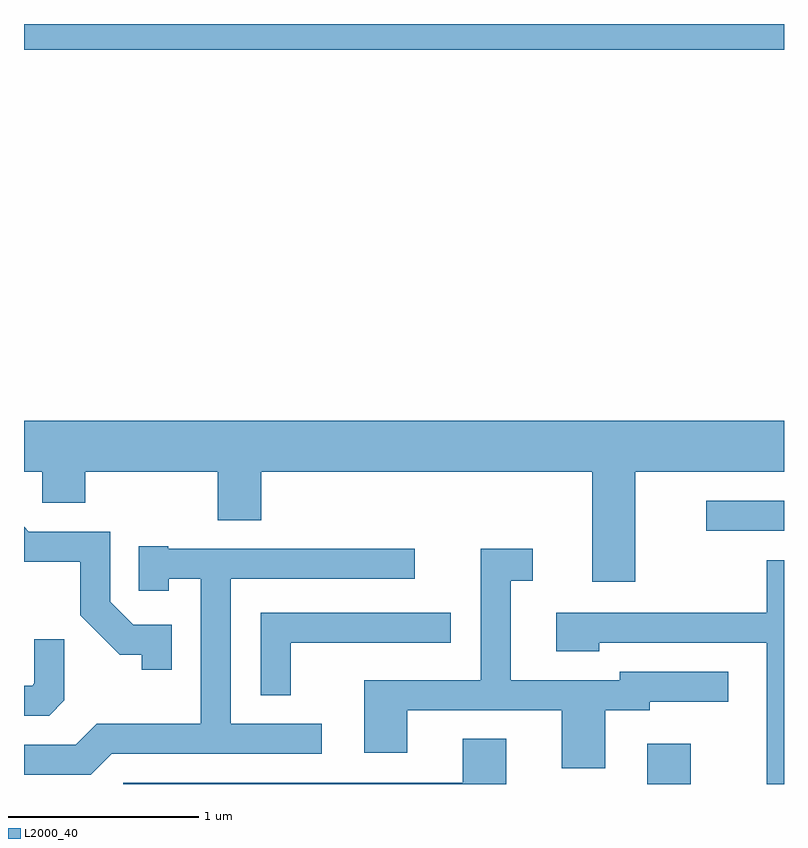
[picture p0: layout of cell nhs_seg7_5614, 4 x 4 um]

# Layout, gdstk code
import gdstk
lib = gdstk.Library(unit=1e-6, precision=1e-09)
def R(c, l, rs):  # rectangles x0, y0, x1, y1
    for r in rs: c.add(gdstk.rectangle(r[:2], r[2:], *l))
def P(c, l, *ps):  # polygons
    for p in ps: c.add(gdstk.Polygon(p, *l))
L2000_40 = (2000, 40)

nhs_seg7_5614 = lib.new_cell('nhs_seg7_5614')
R(nhs_seg7_5614, L2000_40, [(360.891,1688.252,361.119,1688.464), (361.203,1689.586,361.611,1689.744), (357.611,1692.116,361.611,1692.252)])
P(nhs_seg7_5614, L2000_40, [(360.829,1689.896),(361.611,1689.896),(361.611,1690.164),(357.611,1690.164),(357.611,1689.896),(357.706,1689.896),(357.706,1689.731),(357.934,1689.731),(357.934,1689.896),(358.631,1689.896),(358.631,1689.641),(358.859,1689.641),(358.859,1689.896),(360.601,1689.896),(360.601,1689.316),(360.829,1689.316)],
  [(358.389,1689.089),(358.187,1689.089),(358.064,1689.212),(358.064,1689.579),(357.637,1689.579),(357.611,1689.605),(357.611,1689.421),(357.906,1689.421),(357.906,1689.139),(358.114,1688.931),(358.231,1688.931),(358.231,1688.853),(358.389,1688.853)],
  [(358.072,1688.411),(359.178,1688.411),(359.178,1688.569),(358.699,1688.569),(358.699,1689.331),(359.668,1689.331),(359.668,1689.489),(358.37,1689.489),(358.37,1689.504),(358.216,1689.504),(358.216,1689.268),(358.374,1689.268),(358.374,1689.331),(358.541,1689.331),(358.541,1688.569),(357.994,1688.569),(357.884,1688.459),(357.611,1688.459),(357.611,1688.301),(357.962,1688.301)],
  [(360.669,1688.641),(360.904,1688.641),(360.904,1688.686),(361.318,1688.686),(361.318,1688.844),(360.746,1688.844),(360.746,1688.799),(360.174,1688.799),(360.174,1689.321),(360.288,1689.321),(360.288,1689.489),(360.016,1689.489),(360.016,1688.799),(359.401,1688.799),(359.401,1688.416),(359.629,1688.416),(359.629,1688.641),(360.441,1688.641),(360.441,1688.336),(360.669,1688.336)],
  [(361.611,1689.429),(361.521,1689.429),(361.521,1689.154),(360.411,1689.154),(360.411,1688.951),(360.639,1688.951),(360.639,1688.996),(361.521,1688.996),(361.521,1688.252),(361.611,1688.252)],
  [(359.014,1688.996),(359.858,1688.996),(359.858,1689.154),(358.856,1689.154),(358.856,1688.718),(359.014,1688.718)],
  [(357.824,1688.692),(357.824,1689.013),(357.666,1689.013),(357.666,1688.782),(357.654,1688.769),(357.611,1688.769),(357.611,1688.611),(357.744,1688.611)],
  [(360.149,1688.489),(359.921,1688.489),(359.921,1688.259),(358.133,1688.259),(358.133,1688.252),(360.149,1688.252)])

lib.write_gds('nhs_seg7_5614.gds')
